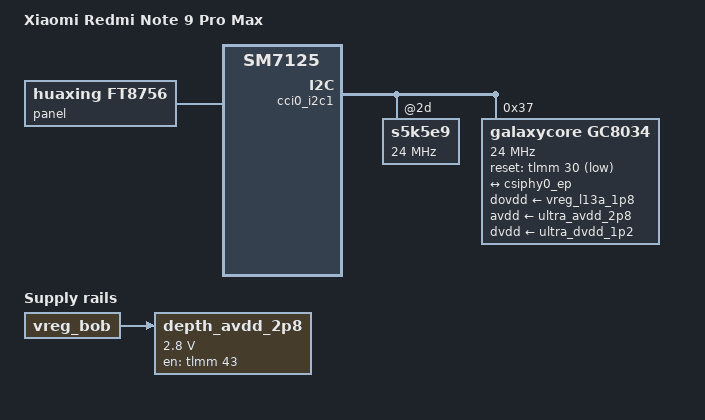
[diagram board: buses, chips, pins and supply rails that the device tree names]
// SPDX-License-Identifier: GPL-2.0
/*
 * Xiaomi Redmi Note 9 Pro Max (excalibur, miatoll family, SM7125)
 *
 * Based on sm7125-xiaomi-joyeuse-huaxing.dts (same Huaxing panel and
 * FocalTech touchscreen). Camera differences from joyeuse are documented in
 * sm7125-xiaomi-excalibur.notes.md.
 */

/dts-v1/;

#include "sm7125-xiaomi-joyeuse.dtsi"

/ {
	model = "Xiaomi Redmi Note 9 Pro Max";
	compatible = "xiaomi,excalibur", "xiaomi,miatoll", "qcom,sm7125";

	/*
	 * Downstream excalibur/curtana powers the macro sensor's AVDD from
	 * TLMM GPIO 43 ("depth_ldo_avdd"), while the front sensor uses
	 * PM6150L GPIO 8 ("ultra_ldo_avdd"). Mainline's s5k5e9 driver takes a
	 * single vana supply, so this rail is kept always-on for the first
	 * test.
	 */
	depth_avdd_2p8: regulator-depth-avdd-2p8 {
		compatible = "regulator-fixed";
		regulator-name = "depth_avdd_2p8";
		regulator-min-microvolt = <2800000>;
		regulator-max-microvolt = <2800000>;
		regulator-enable-ramp-delay = <100>;
		regulator-always-on;
		enable-active-high;
		gpio = <&tlmm 43 0>;
		pinctrl-names = "default";
		pinctrl-0 = <&cam_depth_avdd_default>;
		vin-supply = <&vreg_bob>;
	};
};

&panel { compatible = "huaxing,ft8756"; };
&touchscreen {
	compatible = "focaltech,ft8756-spi";
	firmware-name = "focaltech_ts_fw_huaxing.bin";
};

&camss {
	ports {
		port@3 {
			csiphy3_ep: endpoint {
				status = "disabled";
			};
		};
	};
};

&cci0_i2c1 {
	/*
	 * The macro sensor's MCLK runs at 24 MHz on excalibur (downstream
	 * curtana-atoll-camera-sensor-idp.dtsi), not joyeuse's 19.2 MHz.
	 */
	s5k5e9@2d {
		/*
		 * The sensor's MCLK runs only while the camera block's TITAN_TOP_GDSC is on. Without
		 * the domain here, the probe sometimes enabled the clock while the CCI bus (which has
		 * the domain) was suspended: "Cannot read register 0", then "Failed to enable xvclk".
		 */
		power-domains = <&camcc TITAN_TOP_GDSC>;
		clock-frequency = <24000000>;
		assigned-clock-rates = <24000000>;
	};
};

&cci1_i2c0 {
	/*
	 * The Pro Max has a different 32 MP front sensor (not ov16a1q); the
	 * joyeuse node fails to probe (register read -5) and keeps the CAMSS
	 * media graph from completing.
	 */
	ov16a1q@10 {
		status = "disabled";
	};
};

&tlmm {
	cam_depth_avdd_default: cam-depth-avdd-default-state {
		en-pins {
			pins = "gpio43";
			function = "gpio";
			drive-strength = <2>;
			bias-disable;
		};
	};
};


/*
 * The 8 MP ultrawide, as downstream excalibur (curtana-atoll-camera-sensor-idp.dtsi,
 * qcom,cam-sensor@3) wires it: CCI0 master 1 (the macro's bus), MCLK4, reset on TLMM GPIO 30,
 * CSIPHY 0 with two lanes, the ultra AVDD/DVDD rails. Units ship an OV8856 (0x36) or a GC8034
 * (0x37); this one answers at 0x37 (a GC8034, gc8034.c). The GC8034's register tables (Rockchip's) assume a 24 MHz
 * input, so MCLK4 runs at 24 MHz rather than downstream's 19.2.
 */
&camss {
	ports {
		port@0 {
			csiphy0_ep: endpoint {
				data-lanes = <0 1>;
				remote-endpoint = <&cam_gc8034_ep>;
			};
		};
	};
};

&cci0_i2c1 {
	gc8034@37 {
		compatible = "galaxycore,gc8034";
		reg = <0x37>;

		dovdd-supply = <&vreg_l13a_1p8>;
		avdd-supply = <&ultra_avdd_2p8>;
		dvdd-supply = <&ultra_dvdd_1p2>;

		power-domains = <&camcc TITAN_TOP_GDSC>;
		clocks = <&camcc CAM_CC_MCLK4_CLK>;
		clock-names = "xvclk";
		clock-frequency = <24000000>;
		assigned-clocks = <&camcc CAM_CC_MCLK4_CLK>;
		assigned-clock-rates = <24000000>;

		reset-gpios = <&tlmm 30 GPIO_ACTIVE_LOW>;
		pinctrl-names = "default";
		pinctrl-0 = <&cam_gc8034_default>;

		orientation = <1>;
		rotation = <270>;

		port {
			cam_gc8034_ep: endpoint {
				data-lanes = <0 1>;
				link-frequencies = /bits/ 64 <336000000>;
				remote-endpoint = <&csiphy0_ep>;
			};
		};
	};
};

&tlmm {
	cam_gc8034_default: cam-gc8034-default-state {
		rst-pins {
			pins = "gpio30";
			function = "gpio";
			drive-strength = <2>;
			bias-disable;
		};

		mclk4-pins {
			pins = "gpio23";
			function = "cam_mclk";
			drive-strength = <2>;
			bias-disable;
		};
	};
};
